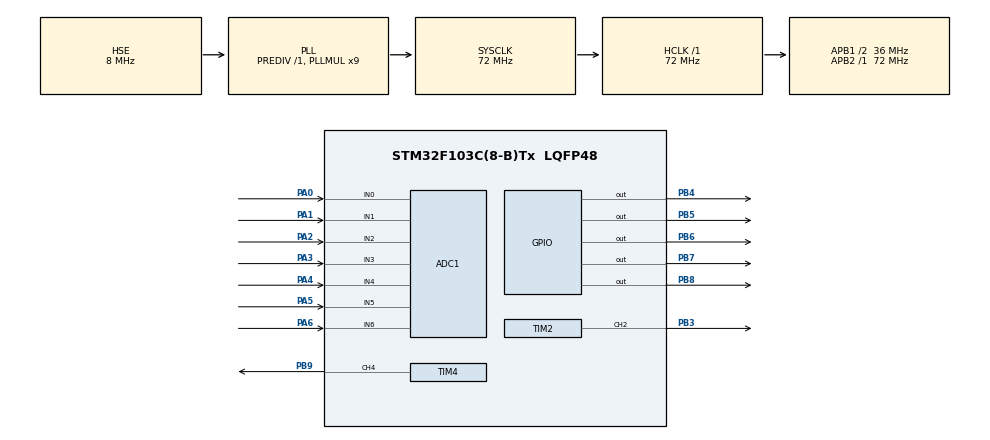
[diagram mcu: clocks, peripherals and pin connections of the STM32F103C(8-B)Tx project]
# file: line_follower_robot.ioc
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ADC1.Channel-0\#ChannelRegularConversion=ADC_CHANNEL_0
ADC1.Channel-1\#ChannelRegularConversion=ADC_CHANNEL_1
ADC1.Channel-2\#ChannelRegularConversion=ADC_CHANNEL_2
ADC1.Channel-3\#ChannelRegularConversion=ADC_CHANNEL_3
ADC1.Channel-4\#ChannelRegularConversion=ADC_CHANNEL_4
ADC1.Channel-5\#ChannelRegularConversion=ADC_CHANNEL_5
ADC1.Channel-6\#ChannelRegularConversion=ADC_CHANNEL_6
ADC1.ContinuousConvMode=ENABLE
ADC1.NbrOfConversion=7
ADC1.NbrOfConversionFlag=1
ADC1.Rank-0\#ChannelRegularConversion=1
ADC1.Rank-1\#ChannelRegularConversion=2
ADC1.Rank-2\#ChannelRegularConversion=3
ADC1.Rank-3\#ChannelRegularConversion=4
ADC1.Rank-4\#ChannelRegularConversion=5
ADC1.Rank-5\#ChannelRegularConversion=6
ADC1.Rank-6\#ChannelRegularConversion=7
ADC1.SamplingTime-0\#ChannelRegularConversion=ADC_SAMPLETIME_239CYCLES_5
ADC1.SamplingTime-1\#ChannelRegularConversion=ADC_SAMPLETIME_239CYCLES_5
ADC1.SamplingTime-2\#ChannelRegularConversion=ADC_SAMPLETIME_239CYCLES_5
ADC1.SamplingTime-3\#ChannelRegularConversion=ADC_SAMPLETIME_239CYCLES_5
ADC1.SamplingTime-4\#ChannelRegularConversion=ADC_SAMPLETIME_239CYCLES_5
ADC1.SamplingTime-5\#ChannelRegularConversion=ADC_SAMPLETIME_239CYCLES_5
ADC1.SamplingTime-6\#ChannelRegularConversion=ADC_SAMPLETIME_239CYCLES_5
ADC1.master=1
Dma.ADC1.0.Direction=DMA_PERIPH_TO_MEMORY
Dma.ADC1.0.Instance=DMA1_Channel1
Dma.ADC1.0.MemDataAlignment=DMA_MDATAALIGN_HALFWORD
Dma.ADC1.0.MemInc=DMA_MINC_ENABLE
Dma.ADC1.0.Mode=DMA_CIRCULAR
Dma.ADC1.0.PeriphDataAlignment=DMA_PDATAALIGN_HALFWORD
Dma.ADC1.0.PeriphInc=DMA_PINC_DISABLE
Dma.ADC1.0.Priority=DMA_PRIORITY_LOW
Dma.Request0=ADC1
Mcu.Family=STM32F1
Mcu.Name=STM32F103C(8-B)Tx
Mcu.Package=LQFP48
NVIC.ADC1_2_IRQn=true\:0\:0\:false\:false\:true\:true\:true\:true
NVIC.DMA1_Channel1_IRQn=true\:0\:0\:false\:false\:true\:false\:true\:true
NVIC.PriorityGroup=NVIC_PRIORITYGROUP_4
PA0-WKUP.Signal=ADCx_IN0
PA1.Signal=ADCx_IN1
PA13.Mode=Serial_Wire
PA13.Signal=SYS_JTMS-SWDIO
PA14.Mode=Serial_Wire
PA14.Signal=SYS_JTCK-SWCLK
PA2.Signal=ADCx_IN2
PA3.Signal=ADCx_IN3
PA4.Signal=ADCx_IN4
PA5.Signal=ADCx_IN5
PA6.Signal=ADCx_IN6
PB3.Signal=S_TIM2_CH2
PB4.Signal=GPIO_Output
PB5.Signal=GPIO_Output
PB6.Signal=GPIO_Output
PB7.Signal=GPIO_Output
PB8.Signal=GPIO_Output
PB9.Signal=S_TIM4_CH4
PD0-OSC_IN.Mode=HSE-External-Oscillator
PD0-OSC_IN.Signal=RCC_OSC_IN
PD1-OSC_OUT.Mode=HSE-External-Oscillator
PD1-OSC_OUT.Signal=RCC_OSC_OUT
ProjectManager.HeapSize=0x200
ProjectManager.StackSize=0x400
ProjectManager.TargetToolchain=STM32CubeIDE
RCC.ADCPresc=RCC_ADCPCLK2_DIV6
RCC.AHBFreq_Value=72000000
RCC.APB1CLKDivider=RCC_HCLK_DIV2
RCC.APB1Freq_Value=36000000
RCC.APB1TimFreq_Value=72000000
RCC.APB2Freq_Value=72000000
RCC.APB2TimFreq_Value=72000000
RCC.HCLKFreq_Value=72000000
RCC.PLLMUL=RCC_PLL_MUL9
RCC.PLLSourceVirtual=RCC_PLLSOURCE_HSE
RCC.SYSCLKFreq_VALUE=72000000
RCC.SYSCLKSource=RCC_SYSCLKSOURCE_PLLCLK
RCC.USBFreq_Value=72000000
SH.ADCx_IN0.0=ADC1_IN0,IN0
SH.ADCx_IN1.0=ADC1_IN1,IN1
SH.ADCx_IN2.0=ADC1_IN2,IN2
SH.ADCx_IN3.0=ADC1_IN3,IN3
SH.ADCx_IN4.0=ADC1_IN4,IN4
SH.ADCx_IN5.0=ADC1_IN5,IN5
SH.ADCx_IN6.0=ADC1_IN6,IN6
SH.S_TIM2_CH2.0=TIM2_CH2,PWM Generation2 CH2
SH.S_TIM4_CH4.0=TIM4_CH4,PWM Generation4 CH4
TIM2.Channel-PWM\ Generation2\ CH2=TIM_CHANNEL_2
TIM2.Period=999
TIM2.Prescaler=79
TIM2.Pulse-PWM\ Generation2\ CH2=199
TIM4.Channel-PWM\ Generation4\ CH4=TIM_CHANNEL_4
TIM4.Period=999
TIM4.Prescaler=79
TIM4.Pulse-PWM\ Generation4\ CH4=199
board=custom

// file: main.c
/* USER CODE BEGIN Header */
/**
  ******************************************************************************
  * @file           : main.c
  * @brief          : Main program body
  ******************************************************************************
  * @attention
  *
  * Copyright (c) 2025 STMicroelectronics.
  * All rights reserved.
  *
  * This software is licensed under terms that can be found in the LICENSE file
  * in the root directory of this software component.
  * If no LICENSE file comes with this software, it is provided AS-IS.
  *
  ******************************************************************************
  */
/* USER CODE END Header */
#include "main.h"

/* USER CODE BEGIN Includes */
float Kp = 0.004;
float Ki = 0;
float Kd = 0.0008;
int P, I, D;
int lasterror = 0;
//float  error;
int errors [7] ={0,0,0,0,0,0,0};
int last_end ; // 0 left  , 1 right ;
const int arr = 10;
//int bka [1] = {0,0};
int pos = 0;
volatile uint16_t adcvalue[7];  // Mảng chứa giá trị ADC mới nhất
float min_adc[7] = {3000, 3000, 3000, 3000, 3000, 3000, 3000};  // Giá trị nh�? nhất tìm được
int adc_weights[7] = {-3000, -1500, -500, 0, 500, 1500, 3000};  // Hệ số ứng với từng cảm biến
int values[7] ;  // Lưu giá trị tương ứng với từng cảm biến
int flags[7];   // Lưu trạng thái 0 hoặc 1 của từng cảm biến
float update_adc [7];
float last_adc [7] = {0, 0, 0, 0, 0, 0, 0}; // Lưu giá trị ADC trước đó
/* Cấu trúc bộ l�?c Kalman */
typedef struct {
    float x;  // Giá trị ADC đã l�?c
    float P;  // Sai số của giá trị đã l�?c
    float Q;  // Nhiễu quá trình
    float R;  // Nhiễu quan sát
    float K;  // Hệ số Kalman
} KalmanFilter;
/* Mảng Kalman cho từng kênh ADC */
KalmanFilter kalman[7];
/* USER CODE END Includes */

ADC_HandleTypeDef hadc1;
DMA_HandleTypeDef hdma_adc1;

TIM_HandleTypeDef htim2;
TIM_HandleTypeDef htim4;

void SystemClock_Config(void);
static void MX_GPIO_Init(void);
static void MX_DMA_Init(void);
static void MX_ADC1_Init(void);
static void MX_TIM2_Init(void);
static void MX_TIM4_Init(void);
/* USER CODE BEGIN PFP */
/* Hàm khởi tạo bộ l�?c Kalman */
void Kalman_Init(KalmanFilter *kf, float Q, float R, float initial_value) {
    kf->x = initial_value;
    kf->P = 1.0f;  // Sai số ban đầu
    kf->Q = Q;  // Nhiễu quá trình
    kf->R = R;  // Nhiễu quan sát
}
/* Hàm cập nhật giá trị bằng bộ l�?c Kalman */
float Kalman_Update(KalmanFilter *kf, float measurement) {
    kf->P = kf->P + kf->Q;  // Dự đoán sai số
    kf->K = kf->P / (kf->P + kf->R);  // Tính hệ số Kalman
    kf->x = kf->x + kf->K * (measurement - kf->x);  // Cập nhật giá trị
    kf->P = (1 - kf->K) * kf->P;  // Cập nhật sai số
    return kf->x;
}
/* USER CODE END PFP */

/* USER CODE BEGIN 0 */
// Ham dieu khien dong co

void motor_control (float left, float right) {
	if (right < 0 ){
    HAL_GPIO_WritePin(GPIOB, GPIO_PIN_6, GPIO_PIN_SET);
	HAL_GPIO_WritePin(GPIOB, GPIO_PIN_4, GPIO_PIN_SET);
	HAL_GPIO_WritePin(GPIOB, GPIO_PIN_5, GPIO_PIN_RESET);
		__HAL_TIM_SET_COMPARE(&htim2,TIM_CHANNEL_2, -arr*right);
	}
	if (right > 0) {
		HAL_GPIO_WritePin(GPIOB, GPIO_PIN_6, GPIO_PIN_SET);
		HAL_GPIO_WritePin(GPIOB, GPIO_PIN_4, GPIO_PIN_RESET );
		HAL_GPIO_WritePin(GPIOB, GPIO_PIN_5, GPIO_PIN_SET);
		__HAL_TIM_SET_COMPARE(&htim2, TIM_CHANNEL_2, arr*right);
	}
	if ( right == 0) {
		HAL_GPIO_WritePin(GPIOB, GPIO_PIN_6, GPIO_PIN_RESET);
	}
	if (left < 0 ){
		HAL_GPIO_WritePin(GPIOB, GPIO_PIN_6, GPIO_PIN_SET);
			HAL_GPIO_WritePin(GPIOB, GPIO_PIN_7, GPIO_PIN_SET);
			HAL_GPIO_WritePin(GPIOB, GPIO_PIN_8, GPIO_PIN_RESET);
			__HAL_TIM_SET_COMPARE(&htim4,TIM_CHANNEL_4, -arr*left);
		}
	if (left > 0) {
		HAL_GPIO_WritePin(GPIOB, GPIO_PIN_6, GPIO_PIN_SET);
		HAL_GPIO_WritePin(GPIOB, GPIO_PIN_7, GPIO_PIN_RESET);
		HAL_GPIO_WritePin(GPIOB, GPIO_PIN_8, GPIO_PIN_SET);
			__HAL_TIM_SET_COMPARE(&htim4, TIM_CHANNEL_4, arr*left);
		}
	if (left == 0) {
		HAL_GPIO_WritePin(GPIOB, GPIO_PIN_6, GPIO_PIN_RESET);
		}
}
/* USER CODE END 0 */

int main(void)
{

  /* MCU Configuration--------------------------------------------------------*/

  /* Reset of all peripherals, Initializes the Flash interface and the Systick. */
  HAL_Init();

  /* Configure the system clock */
  SystemClock_Config();

  /* Initialize all configured peripherals */
  MX_GPIO_Init();
  MX_DMA_Init();
  MX_ADC1_Init();
  MX_TIM2_Init();
  MX_TIM4_Init();
  /* USER CODE BEGIN 2 */
  HAL_ADC_Start(&hadc1);
  HAL_ADC_Start_DMA(&hadc1, (uint32_t*)adcvalue, 7);
  HAL_TIM_PWM_Start(&htim2, TIM_CHANNEL_2);
  HAL_TIM_PWM_Start(&htim4, TIM_CHANNEL_4);
  /* Khởi tạo bộ l�?c Kalman cho từng kênh */
     for (int i = 0; i < 7; i++) {
         Kalman_Init(&kalman[i], 0.01f, 5.0f, 2000.0f);  // Q = 0.01, R = 5, giá trị khởi tạo = 2000
     }
  /* USER CODE END 2 */

  /* Infinite loop */
  while (1)
  {

    /* USER CODE BEGIN 3 */
	  int pos = 0;
	  int dem = 0;
	  int error;
	 // bka[0] = dem;
	  for (int i = 0; i < 7; i++)
	      {
	      	//const float threshold = 10.0f; // Ngưỡng thay đổi đáng kể
	          float filtered_adc = Kalman_Update(&kalman[i], (float)adcvalue[i]);  // L�?c ADC bằng Kalman
	          if (filtered_adc < min_adc[i])
	          {
	              min_adc[i] = filtered_adc;  // Cập nhật giá trị nh�? nhất
	          }

	      if (((filtered_adc - last_adc[i]) > 10 ) || ((last_adc[i] - filtered_adc) > 10 )) {
	          update_adc[i] = filtered_adc;
	          last_adc[i] = filtered_adc;
	      }
	      }
	      for (int i = 0; i < 7; i++) {
	    	      if (update_adc[i] > min_adc[i] + 20) {
	    	          values[i] = adc_weights[i];
	    	          flags[i] = 1;
	    	      } else {
	    	          values[i] = 0;
	    	          flags[i] = 0;
	    	      }
	    	  }
	      if ( flags [0] == 1) last_end = 0;
	      if (flags [6] == 1 ) last_end =1;

    // tính toan gia trị error

	 for (int i=0 ; i<7; i++) {
            pos += values [i];
	    	  }
	 for (int i=0 ; i<7; i++) {
            dem += flags [i];
	    	  }
	 if (dem != 0 ) {
      error = pos/dem;
	 }
	 errors [0] = error;
     /// Gan loi vao mang
     for (int i=6; i > 0; i--) {
     errors [i] = errors [i-1];
     }

     /// Tinh tong loi
     float sum = 0;
     for ( int i = 0; i < 7;  i++) {

     sum += errors [i];
     }
     // Thuat toan PID
     P = error;  // Sai so
     D = error - lasterror; // Do qua vot lo
     I = sum ; /// Tich luy sai so
     lasterror = error ;
     // Tinh toan toc do dong co
     int motor_speed = P*Kp + I*Ki + D*Kd; // Tinh toan toc do dong co
     int speedleft = 50 + motor_speed;  // Banh trai
     int speedright = 50 - motor_speed; // Banh phai
     // Gioi hạn toc do dong co
    if (speedleft > 80 ) {
    	speedleft = 80;
    }
    if (speedleft < - 80 ) {
    	speedleft = -80;
    }
    if (speedright > 80){
    	speedright = 80;
    }
    if (speedright < -80 ) {
    	speedright = -80;
    }
    ///
     if (dem == 0 && last_end ==1 )

              motor_control(50, -50);  // Quay phải
     else if (dem == 0 && last_end == 0) {
               motor_control(-50, 50);  // Quay trái
               }
     else {
              motor_control(speedleft, speedright);
         }
    }
  /* USER CODE END 3 */
}

void SystemClock_Config(void)
{
  RCC_OscInitTypeDef RCC_OscInitStruct = {0};
  RCC_ClkInitTypeDef RCC_ClkInitStruct = {0};
  RCC_PeriphCLKInitTypeDef PeriphClkInit = {0};

  /** Initializes the RCC Oscillators according to the specified parameters
  * in the RCC_OscInitTypeDef structure.
  */
  RCC_OscInitStruct.OscillatorType = RCC_OSCILLATORTYPE_HSE;
  RCC_OscInitStruct.HSEState = RCC_HSE_ON;
  RCC_OscInitStruct.HSEPredivValue = RCC_HSE_PREDIV_DIV1;
  RCC_OscInitStruct.HSIState = RCC_HSI_ON;
  RCC_OscInitStruct.PLL.PLLState = RCC_PLL_ON;
  RCC_OscInitStruct.PLL.PLLSource = RCC_PLLSOURCE_HSE;
  RCC_OscInitStruct.PLL.PLLMUL = RCC_PLL_MUL9;
  if (HAL_RCC_OscConfig(&RCC_OscInitStruct) != HAL_OK)
  {
    Error_Handler();
  }

  /** Initializes the CPU, AHB and APB buses clocks
  */
  RCC_ClkInitStruct.ClockType = RCC_CLOCKTYPE_HCLK|RCC_CLOCKTYPE_SYSCLK
                              |RCC_CLOCKTYPE_PCLK1|RCC_CLOCKTYPE_PCLK2;
  RCC_ClkInitStruct.SYSCLKSource = RCC_SYSCLKSOURCE_PLLCLK;
  RCC_ClkInitStruct.AHBCLKDivider = RCC_SYSCLK_DIV1;
  RCC_ClkInitStruct.APB1CLKDivider = RCC_HCLK_DIV2;
  RCC_ClkInitStruct.APB2CLKDivider = RCC_HCLK_DIV1;

  if (HAL_RCC_ClockConfig(&RCC_ClkInitStruct, FLASH_LATENCY_2) != HAL_OK)
  {
    Error_Handler();
  }
  PeriphClkInit.PeriphClockSelection = RCC_PERIPHCLK_ADC;
  PeriphClkInit.AdcClockSelection = RCC_ADCPCLK2_DIV6;
  if (HAL_RCCEx_PeriphCLKConfig(&PeriphClkInit) != HAL_OK)
  {
    Error_Handler();
  }
}

static void MX_ADC1_Init(void)
{

  ADC_ChannelConfTypeDef sConfig = {0};

  /** Common config
  */
  hadc1.Instance = ADC1;
  hadc1.Init.ScanConvMode = ADC_SCAN_ENABLE;
  hadc1.Init.ContinuousConvMode = ENABLE;
  hadc1.Init.DiscontinuousConvMode = DISABLE;
  hadc1.Init.ExternalTrigConv = ADC_SOFTWARE_START;
  hadc1.Init.DataAlign = ADC_DATAALIGN_RIGHT;
  hadc1.Init.NbrOfConversion = 7;
  if (HAL_ADC_Init(&hadc1) != HAL_OK)
  {
    Error_Handler();
  }

  /** Configure Regular Channel
  */
  sConfig.Channel = ADC_CHANNEL_0;
  sConfig.Rank = ADC_REGULAR_RANK_1;
  sConfig.SamplingTime = ADC_SAMPLETIME_239CYCLES_5;
  if (HAL_ADC_ConfigChannel(&hadc1, &sConfig) != HAL_OK)
  {
    Error_Handler();
  }

  /** Configure Regular Channel
  */
  sConfig.Channel = ADC_CHANNEL_1;
  sConfig.Rank = ADC_REGULAR_RANK_2;
  if (HAL_ADC_ConfigChannel(&hadc1, &sConfig) != HAL_OK)
  {
    Error_Handler();
  }

  /** Configure Regular Channel
  */
  sConfig.Channel = ADC_CHANNEL_2;
  sConfig.Rank = ADC_REGULAR_RANK_3;
  if (HAL_ADC_ConfigChannel(&hadc1, &sConfig) != HAL_OK)
  {
    Error_Handler();
  }

  /** Configure Regular Channel
  */
  sConfig.Channel = ADC_CHANNEL_3;
  sConfig.Rank = ADC_REGULAR_RANK_4;
  if (HAL_ADC_ConfigChannel(&hadc1, &sConfig) != HAL_OK)
  {
    Error_Handler();
  }

  /** Configure Regular Channel
  */
  sConfig.Channel = ADC_CHANNEL_4;
  sConfig.Rank = ADC_REGULAR_RANK_5;
  if (HAL_ADC_ConfigChannel(&hadc1, &sConfig) != HAL_OK)
  {
    Error_Handler();
  }

  /** Configure Regular Channel
  */
  sConfig.Channel = ADC_CHANNEL_5;
  sConfig.Rank = ADC_REGULAR_RANK_6;
  if (HAL_ADC_ConfigChannel(&hadc1, &sConfig) != HAL_OK)
  {
    Error_Handler();
  }

  /** Configure Regular Channel
  */
  sConfig.Channel = ADC_CHANNEL_6;
  sConfig.Rank = ADC_REGULAR_RANK_7;
  if (HAL_ADC_ConfigChannel(&hadc1, &sConfig) != HAL_OK)
  {
    Error_Handler();
  }

}

static void MX_TIM2_Init(void)
{

  TIM_MasterConfigTypeDef sMasterConfig = {0};
  TIM_OC_InitTypeDef sConfigOC = {0};

  htim2.Instance = TIM2;
  htim2.Init.Prescaler = 79;
  htim2.Init.CounterMode = TIM_COUNTERMODE_UP;
  htim2.Init.Period = 999;
  htim2.Init.ClockDivision = TIM_CLOCKDIVISION_DIV1;
  htim2.Init.AutoReloadPreload = TIM_AUTORELOAD_PRELOAD_DISABLE;
  if (HAL_TIM_PWM_Init(&htim2) != HAL_OK)
  {
    Error_Handler();
  }
  sMasterConfig.MasterOutputTrigger = TIM_TRGO_RESET;
  sMasterConfig.MasterSlaveMode = TIM_MASTERSLAVEMODE_DISABLE;
  if (HAL_TIMEx_MasterConfigSynchronization(&htim2, &sMasterConfig) != HAL_OK)
  {
    Error_Handler();
  }
  sConfigOC.OCMode = TIM_OCMODE_PWM1;
  sConfigOC.Pulse = 199;
  sConfigOC.OCPolarity = TIM_OCPOLARITY_HIGH;
  sConfigOC.OCFastMode = TIM_OCFAST_DISABLE;
  if (HAL_TIM_PWM_ConfigChannel(&htim2, &sConfigOC, TIM_CHANNEL_2) != HAL_OK)
  {
    Error_Handler();
  }
  HAL_TIM_MspPostInit(&htim2);

}

static void MX_TIM4_Init(void)
{

  TIM_MasterConfigTypeDef sMasterConfig = {0};
  TIM_OC_InitTypeDef sConfigOC = {0};

  htim4.Instance = TIM4;
  htim4.Init.Prescaler = 79;
  htim4.Init.CounterMode = TIM_COUNTERMODE_UP;
  htim4.Init.Period = 999;
  htim4.Init.ClockDivision = TIM_CLOCKDIVISION_DIV1;
  htim4.Init.AutoReloadPreload = TIM_AUTORELOAD_PRELOAD_DISABLE;
  if (HAL_TIM_PWM_Init(&htim4) != HAL_OK)
  {
    Error_Handler();
  }
  sMasterConfig.MasterOutputTrigger = TIM_TRGO_RESET;
  sMasterConfig.MasterSlaveMode = TIM_MASTERSLAVEMODE_DISABLE;
  if (HAL_TIMEx_MasterConfigSynchronization(&htim4, &sMasterConfig) != HAL_OK)
  {
    Error_Handler();
  }
  sConfigOC.OCMode = TIM_OCMODE_PWM1;
  sConfigOC.Pulse = 199;
  sConfigOC.OCPolarity = TIM_OCPOLARITY_HIGH;
  sConfigOC.OCFastMode = TIM_OCFAST_DISABLE;
  if (HAL_TIM_PWM_ConfigChannel(&htim4, &sConfigOC, TIM_CHANNEL_4) != HAL_OK)
  {
    Error_Handler();
  }
  HAL_TIM_MspPostInit(&htim4);

}

static void MX_DMA_Init(void)
{

  /* DMA controller clock enable */
  __HAL_RCC_DMA1_CLK_ENABLE();

  /* DMA interrupt init */
  /* DMA1_Channel1_IRQn interrupt configuration */
  HAL_NVIC_SetPriority(DMA1_Channel1_IRQn, 0, 0);
  HAL_NVIC_EnableIRQ(DMA1_Channel1_IRQn);

}

static void MX_GPIO_Init(void)
{
  GPIO_InitTypeDef GPIO_InitStruct = {0};

  /* GPIO Ports Clock Enable */
  __HAL_RCC_GPIOD_CLK_ENABLE();
  __HAL_RCC_GPIOA_CLK_ENABLE();
  __HAL_RCC_GPIOB_CLK_ENABLE();

  /*Configure GPIO pin Output Level */
  HAL_GPIO_WritePin(GPIOB, GPIO_PIN_4|GPIO_PIN_5|GPIO_PIN_6|GPIO_PIN_7
                          |GPIO_PIN_8, GPIO_PIN_RESET);

  /*Configure GPIO pins : PB4 PB5 PB6 PB7
                           PB8 */
  GPIO_InitStruct.Pin = GPIO_PIN_4|GPIO_PIN_5|GPIO_PIN_6|GPIO_PIN_7
                          |GPIO_PIN_8;
  GPIO_InitStruct.Mode = GPIO_MODE_OUTPUT_PP;
  GPIO_InitStruct.Pull = GPIO_NOPULL;
  GPIO_InitStruct.Speed = GPIO_SPEED_FREQ_LOW;
  HAL_GPIO_Init(GPIOB, &GPIO_InitStruct);

}

void Error_Handler(void)
{
  __disable_irq();
  while (1)
  {
  }
}
